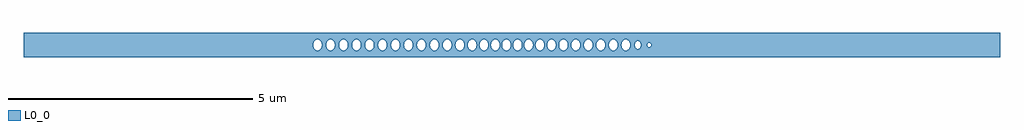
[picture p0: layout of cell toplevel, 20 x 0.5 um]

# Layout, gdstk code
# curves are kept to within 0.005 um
import gdstk
lib = gdstk.Library(unit=1e-6, precision=1e-09)
def P(c, l, *ps):  # polygons
    for p in ps: c.add(gdstk.Polygon(p, *l))
L0_0 = (0, 0)

toplevel = lib.new_cell('toplevel')
P(toplevel, L0_0, [(-3.424,-0.25),(-3.424,-0.111),(-3.47,-0.115),(-3.511,-0.09),(-3.533,-0.056),(-3.544,-0.007),(-3.533,0.056),(-3.511,0.09),(-3.47,0.115),(-3.424,0.111),(-3.424,0.25),(-10,0.25),(-10,-0.007),(-4.076,-0.007),(-4.067,0.05),(-4.051,0.08),(-4.013,0.111),(-3.984,0.117),(-3.956,0.111),(-3.918,0.08),(-3.899,0.043),(-3.893,-0.007),(-3.81,-0.007),(-3.801,0.05),(-3.785,0.08),(-3.747,0.111),(-3.718,0.117),(-3.69,0.111),(-3.66,0.09),(-3.638,0.056),(-3.627,0.007),(-3.636,-0.05),(-3.652,-0.08),(-3.69,-0.111),(-3.718,-0.117),(-3.747,-0.111),(-3.777,-0.09),(-3.801,-0.05),(-3.81,-0.007),(-3.893,-0.007),(-3.904,-0.056),(-3.926,-0.09),(-3.956,-0.111),(-3.984,-0.117),(-4.013,-0.111),(-4.043,-0.09),(-4.067,-0.05),(-4.076,-0.007),(-10,-0.007),(-10,-0.25)],
  [(-3.364,-0.029),(-3.386,-0.08),(-3.424,-0.111),(-3.424,-0.25),(-2.721,-0.25),(-2.721,-0.08),(-2.74,-0.043),(-2.746,-0.007),(-2.74,0.043),(-2.721,0.08),(-2.721,0.25),(-3.424,0.25),(-3.424,0.111),(-3.394,0.09),(-3.375,0.062),(-3.361,-0.007),(-3.278,-0.007),(-3.269,0.05),(-3.253,0.08),(-3.215,0.111),(-3.187,0.117),(-3.158,0.111),(-3.12,0.08),(-3.104,0.05),(-3.095,-0.007),(-3.012,-0.007),(-3.006,0.043),(-2.991,0.074),(-2.965,0.102),(-2.932,0.116),(-2.892,0.111),(-2.862,0.09),(-2.832,0.029),(-2.832,-0.029),(-2.847,-0.069),(-2.877,-0.102),(-2.909,-0.116),(-2.949,-0.111),(-2.979,-0.09),(-3.001,-0.056),(-3.012,-0.007),(-3.095,-0.007),(-3.104,-0.05),(-3.128,-0.09),(-3.158,-0.111),(-3.187,-0.117),(-3.215,-0.111),(-3.245,-0.09),(-3.267,-0.056),(-3.278,-0.007),(-3.361,-0.007)],
  [(-2.708,0.094),(-2.672,0.115),(-2.626,0.111),(-2.596,0.09),(-2.581,0.069),(-2.566,0.029),(-2.564,-0.007),(-2.48,-0.007),(-2.474,0.043),(-2.447,0.09),(-2.406,0.115),(-2.372,0.115),(-2.345,0.102),(-2.318,0.074),(-2.3,0.029),(-2.297,0),(-2.306,-0.05),(-2.322,-0.08),(-2.345,-0.102),(-2.377,-0.116),(-2.417,-0.111),(-2.447,-0.09),(-2.469,-0.056),(-2.48,-0.007),(-2.564,-0.007),(-2.572,-0.05),(-2.588,-0.08),(-2.638,-0.115),(-2.683,-0.111),(-2.721,-0.08),(-2.721,-0.25),(-2.069,-0.25),(-2.069,-0.094),(-2.111,-0.116),(-2.14,-0.115),(-2.162,-0.105),(-2.197,-0.069),(-2.214,-0.007),(-2.203,0.056),(-2.167,0.102),(-2.123,0.117),(-2.095,0.111),(-2.069,0.094),(-2.069,0.25),(-2.721,0.25),(-2.721,0.08)],
  [(-1.4,0.25),(-2.069,0.25),(-2.069,0.094),(-2.04,0.05),(-2.032,-0.007),(-1.948,-0.007),(-1.942,0.043),(-1.923,0.08),(-1.896,0.105),(-1.857,0.117),(-1.823,0.108),(-1.79,0.08),(-1.768,0.029),(-1.766,-0.007),(-1.682,-0.007),(-1.674,0.05),(-1.657,0.08),(-1.63,0.105),(-1.591,0.117),(-1.557,0.108),(-1.528,0.085),(-1.508,0.05),(-1.5,0.015),(-1.502,-0.029),(-1.524,-0.08),(-1.557,-0.108),(-1.591,-0.117),(-1.619,-0.111),(-1.649,-0.09),(-1.674,-0.05),(-1.682,-0.007),(-1.766,-0.007),(-1.774,-0.05),(-1.794,-0.085),(-1.823,-0.108),(-1.857,-0.117),(-1.885,-0.111),(-1.915,-0.09),(-1.937,-0.056),(-1.948,-0.007),(-2.032,-0.007),(-2.04,-0.05),(-2.069,-0.094),(-2.069,-0.25),(-1.4,-0.25),(-1.4,-0.069),(-1.418,-0.007),(-1.415,0.029),(-1.4,0.068)],
  [(-1.397,0.074),(-1.355,0.111),(-1.326,0.117),(-1.298,0.111),(-1.268,0.09),(-1.246,0.056),(-1.236,-0.015),(-1.158,-0.015),(-1.154,0.036),(-1.13,0.085),(-1.09,0.113),(-1.05,0.115),(-1.013,0.094),(-0.993,0.069),(-0.977,0.022),(-0.976,-0.015),(-1,-0.08),(-1.023,-0.102),(-1.056,-0.116),(-1.09,-0.113),(-1.121,-0.094),(-1.15,-0.05),(-1.158,-0.015),(-1.236,-0.015),(-1.241,-0.043),(-1.26,-0.08),(-1.282,-0.102),(-1.309,-0.115),(-1.355,-0.111),(-1.385,-0.09),(-1.4,-0.069),(-1.4,-0.25),(-0.782,-0.25),(-0.782,-0.108),(-0.816,-0.117),(-0.86,-0.102),(-0.89,-0.069),(-0.907,-0.015),(-0.899,0.05),(-0.87,0.094),(-0.827,0.116),(-0.782,0.108),(-0.782,0.25),(-1.4,0.25)],
  [(-0.204,0.015),(-0.184,0.074),(-0.184,0.25),(-0.782,0.25),(-0.782,0.108),(-0.742,0.069),(-0.729,0.036),(-0.725,-0.007),(-0.666,-0.007),(-0.657,0.05),(-0.641,0.08),(-0.603,0.111),(-0.574,0.117),(-0.546,0.111),(-0.508,0.08),(-0.492,0.05),(-0.483,0),(-0.433,0),(-0.424,0.05),(-0.408,0.08),(-0.37,0.111),(-0.341,0.117),(-0.313,0.111),(-0.283,0.09),(-0.261,0.056),(-0.25,0.007),(-0.256,-0.043),(-0.275,-0.08),(-0.302,-0.105),(-0.341,-0.117),(-0.37,-0.111),(-0.408,-0.08),(-0.424,-0.05),(-0.433,0),(-0.483,0),(-0.492,-0.05),(-0.508,-0.08),(-0.546,-0.111),(-0.574,-0.117),(-0.603,-0.111),(-0.633,-0.09),(-0.657,-0.05),(-0.666,-0.007),(-0.725,-0.007),(-0.742,-0.069),(-0.782,-0.108),(-0.782,-0.25),(-0.184,-0.25),(-0.184,-0.074),(-0.202,-0.029)],
  [(-0.176,0.085),(-0.13,0.115),(-0.085,0.111),(-0.039,0.069),(-0.026,0.036),(-0.022,-0.007),(0.022,-0.007),(0.028,0.043),(0.055,0.09),(0.096,0.115),(0.13,0.115),(0.157,0.102),(0.184,0.074),(0.202,0.029),(0.205,0),(0.196,-0.05),(0.18,-0.08),(0.157,-0.102),(0.125,-0.116),(0.085,-0.111),(0.055,-0.09),(0.033,-0.056),(0.022,-0.007),(-0.022,-0.007),(-0.039,-0.069),(-0.064,-0.098),(-0.096,-0.115),(-0.142,-0.111),(-0.184,-0.074),(-0.184,-0.25),(0.395,-0.25),(0.395,-0.094),(0.352,-0.116),(0.307,-0.108),(0.267,-0.069),(0.25,-0.015),(0.258,0.05),(0.274,0.08),(0.297,0.102),(0.341,0.117),(0.369,0.111),(0.395,0.094),(0.395,0.25),(-0.184,0.25),(-0.184,0.074)],
  [(0.965,0.015),(0.989,0.08),(0.989,0.25),(0.395,0.25),(0.395,0.094),(0.424,0.05),(0.432,-0.007),(0.481,-0.007),(0.49,0.05),(0.506,0.08),(0.544,0.111),(0.573,0.117),(0.601,0.111),(0.639,0.08),(0.655,0.05),(0.664,-0.007),(0.719,-0.007),(0.728,0.05),(0.744,0.08),(0.782,0.111),(0.811,0.117),(0.839,0.111),(0.869,0.09),(0.891,0.056),(0.902,0.007),(0.893,-0.05),(0.877,-0.08),(0.839,-0.111),(0.811,-0.117),(0.782,-0.111),(0.752,-0.09),(0.728,-0.05),(0.719,-0.007),(0.664,-0.007),(0.653,-0.056),(0.631,-0.09),(0.601,-0.111),(0.573,-0.117),(0.544,-0.111),(0.514,-0.09),(0.49,-0.05),(0.481,-0.007),(0.432,-0.007),(0.424,-0.05),(0.395,-0.094),(0.395,-0.25),(0.989,-0.25),(0.989,-0.08),(0.967,-0.029)],
  [(1.002,0.094),(1.039,0.115),(1.084,0.111),(1.13,0.069),(1.143,0.036),(1.147,-0.007),(1.216,-0.007),(1.227,0.056),(1.249,0.09),(1.29,0.115),(1.325,0.115),(1.351,0.102),(1.378,0.074),(1.396,0.029),(1.399,-0.007),(1.39,-0.05),(1.374,-0.08),(1.325,-0.115),(1.29,-0.115),(1.249,-0.09),(1.227,-0.056),(1.216,-0.007),(1.147,-0.007),(1.13,-0.069),(1.105,-0.098),(1.073,-0.115),(1.028,-0.111),(0.989,-0.08),(0.989,-0.25),(1.625,-0.25),(1.625,-0.085),(1.58,-0.115),(1.535,-0.111),(1.496,-0.08),(1.472,-0.015),(1.48,0.05),(1.496,0.08),(1.519,0.102),(1.546,0.115),(1.574,0.116),(1.607,0.102),(1.625,0.085),(1.625,0.25),(0.989,0.25),(0.989,0.08)],
  [(2.242,0.015),(2.262,0.074),(2.262,0.25),(1.625,0.25),(1.625,0.085),(1.646,0.05),(1.654,-0.007),(1.728,-0.007),(1.737,0.05),(1.753,0.08),(1.791,0.111),(1.82,0.117),(1.848,0.111),(1.886,0.08),(1.902,0.05),(1.911,-0.007),(1.985,-0.007),(1.991,0.043),(2.01,0.08),(2.037,0.105),(2.076,0.117),(2.11,0.108),(2.143,0.08),(2.159,0.05),(2.168,0),(2.159,-0.05),(2.143,-0.08),(2.11,-0.108),(2.076,-0.117),(2.048,-0.111),(2.018,-0.09),(1.996,-0.056),(1.985,-0.007),(1.911,-0.007),(1.9,-0.056),(1.878,-0.09),(1.848,-0.111),(1.82,-0.117),(1.791,-0.111),(1.761,-0.09),(1.737,-0.05),(1.728,-0.007),(1.654,-0.007),(1.646,-0.05),(1.625,-0.085),(1.625,-0.25),(2.262,-0.25),(2.262,-0.074),(2.244,-0.029)],
  [(2.274,0.09),(2.321,0.116),(2.35,0.115),(2.376,0.102),(2.41,0.062),(2.424,-0.005),(2.513,-0.005),(2.519,0.036),(2.537,0.065),(2.558,0.08),(2.583,0.084),(2.607,0.076),(2.627,0.057),(2.64,0.031),(2.644,0),(2.77,0),(2.781,0.035),(2.815,0.051),(2.843,0.03),(2.85,-0.01),(2.83,-0.045),(2.805,-0.051),(2.781,-0.035),(2.77,0),(2.644,0),(2.64,-0.031),(2.621,-0.065),(2.599,-0.08),(2.575,-0.084),(2.537,-0.065),(2.519,-0.036),(2.513,-0.005),(2.424,-0.005),(2.406,-0.069),(2.391,-0.09),(2.361,-0.111),(2.332,-0.117),(2.304,-0.111),(2.262,-0.074),(2.262,-0.25),(10,-0.25),(10,0.25),(2.262,0.25),(2.262,0.074)])

lib.write_gds('toplevel.gds')
